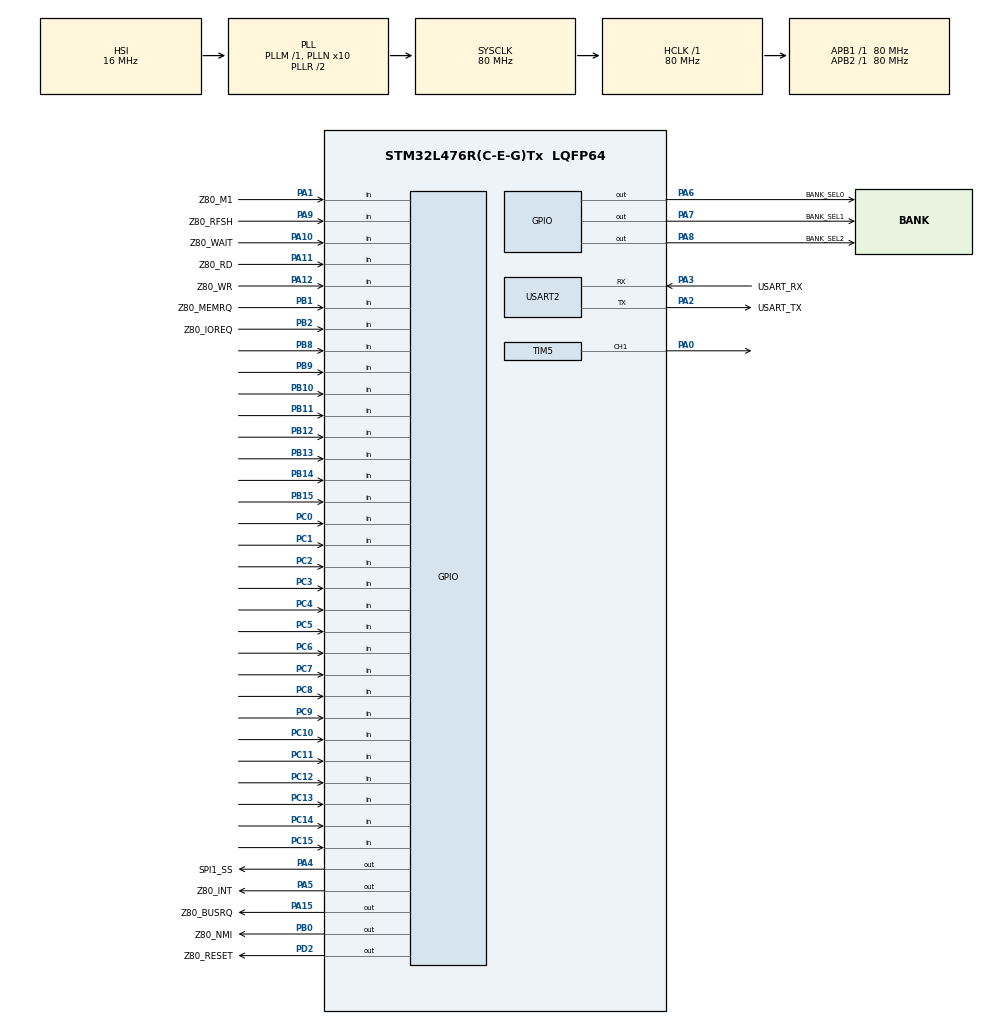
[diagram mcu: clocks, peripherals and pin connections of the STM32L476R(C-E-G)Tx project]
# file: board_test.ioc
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Mcu.Family=STM32L4
Mcu.Name=STM32L476R(C-E-G)Tx
Mcu.Package=LQFP64
NVIC.PriorityGroup=NVIC_PRIORITYGROUP_4
PA0.Signal=S_TIM5_CH1
PA1.GPIO_Label=Z80_M1
PA1.Signal=GPIO_Input
PA10.GPIO_Label=Z80_WAIT
PA10.GPIO_PuPd=GPIO_PULLUP
PA10.Signal=GPIO_Input
PA11.GPIO_Label=Z80_RD
PA11.GPIO_PuPd=GPIO_PULLUP
PA11.Signal=GPIO_Input
PA12.GPIO_Label=Z80_WR
PA12.GPIO_PuPd=GPIO_PULLUP
PA12.Signal=GPIO_Input
PA13\ (JTMS-SWDIO).GPIO_Label=TMS
PA13\ (JTMS-SWDIO).Mode=Serial_Wire
PA13\ (JTMS-SWDIO).Signal=SYS_JTMS-SWDIO
PA14\ (JTCK-SWCLK).GPIO_Label=TCK
PA14\ (JTCK-SWCLK).Mode=Serial_Wire
PA14\ (JTCK-SWCLK).Signal=SYS_JTCK-SWCLK
PA15\ (JTDI).GPIO_Label=Z80_BUSRQ
PA15\ (JTDI).Signal=GPIO_Output
PA2.GPIO_Label=USART_TX
PA2.GPIO_Mode=GPIO_MODE_AF_PP
PA2.GPIO_PuPd=GPIO_NOPULL
PA2.GPIO_Speed=GPIO_SPEED_FREQ_VERY_HIGH
PA2.Mode=Asynchronous
PA2.Signal=USART2_TX
PA3.GPIO_Label=USART_RX
PA3.GPIO_Mode=GPIO_MODE_AF_PP
PA3.GPIO_PuPd=GPIO_NOPULL
PA3.GPIO_Speed=GPIO_SPEED_FREQ_VERY_HIGH
PA3.Mode=Asynchronous
PA3.Signal=USART2_RX
PA4.GPIO_Label=SPI1_SS
PA4.PinState=GPIO_PIN_SET
PA4.Signal=GPIO_Output
PA5.GPIO_Label=Z80_INT
PA5.Signal=GPIO_Output
PA6.GPIO_Label=BANK_SEL0
PA6.Signal=GPIO_Output
PA7.GPIO_Label=BANK_SEL1
PA7.Signal=GPIO_Output
PA8.GPIO_Label=BANK_SEL2
PA8.Signal=GPIO_Output
PA9.GPIO_Label=Z80_RFSH
PA9.Signal=GPIO_Input
PB0.GPIO_Label=Z80_NMI
PB0.Signal=GPIO_Output
PB1.GPIO_Label=Z80_MEMRQ
PB1.GPIO_PuPd=GPIO_PULLUP
PB1.Signal=GPIO_Input
PB10.Signal=GPIO_Input
PB11.Signal=GPIO_Input
PB12.Signal=GPIO_Input
PB13.Signal=GPIO_Input
PB14.Signal=GPIO_Input
PB15.Signal=GPIO_Input
PB2.GPIO_Label=Z80_IOREQ
PB2.GPIO_PuPd=GPIO_PULLUP
PB2.Signal=GPIO_Input
PB8.Signal=GPIO_Input
PB9.Signal=GPIO_Input
PC0.Signal=GPIO_Input
PC1.Signal=GPIO_Input
PC10.Signal=GPIO_Input
PC11.Signal=GPIO_Input
PC12.Signal=GPIO_Input
PC13.Signal=GPIO_Input
PC14-OSC32_IN\ (PC14).Signal=GPIO_Input
PC15-OSC32_OUT\ (PC15).Signal=GPIO_Input
PC2.Signal=GPIO_Input
PC3.Signal=GPIO_Input
PC4.Signal=GPIO_Input
PC5.Signal=GPIO_Input
PC6.Signal=GPIO_Input
PC7.Signal=GPIO_Input
PC8.Signal=GPIO_Input
PC9.Signal=GPIO_Input
PD2.GPIO_Label=Z80_RESET
PD2.Signal=GPIO_Output
PH0-OSC_IN\ (PH0).Signal=RCC_OSC_IN
PH1-OSC_OUT\ (PH1).Signal=RCC_OSC_OUT
ProjectManager.HeapSize=0x200
ProjectManager.StackSize=0x400
ProjectManager.TargetToolchain=STM32CubeIDE
RCC.ADCFreq_Value=64000000
RCC.AHBFreq_Value=80000000
RCC.APB1Freq_Value=80000000
RCC.APB1TimFreq_Value=80000000
RCC.APB2Freq_Value=80000000
RCC.APB2TimFreq_Value=80000000
RCC.CortexFreq_Value=80000000
RCC.HCLKFreq_Value=80000000
RCC.HSE_VALUE=8000000
RCC.HSI_VALUE=16000000
RCC.LSE_VALUE=32768
RCC.MSI_VALUE=4000000
RCC.PLLN=10
RCC.PLLSourceVirtual=RCC_PLLSOURCE_HSI
RCC.PREFETCH_ENABLE=1
RCC.SYSCLKFreq_VALUE=80000000
RCC.SYSCLKSource=RCC_SYSCLKSOURCE_PLLCLK
RCC.USBFreq_Value=64000000
RCC.VCOOutputFreq_Value=160000000
SH.S_TIM5_CH1.0=TIM5_CH1,PWM Generation1 CH1
TIM1.Prescaler=10 - 1
TIM5.AutoReloadPreload=TIM_AUTORELOAD_PRELOAD_ENABLE
TIM5.Channel-PWM\ Generation1\ CH1=TIM_CHANNEL_1
TIM5.Period=1
TIM5.Prescaler=9
TIM5.Pulse-PWM\ Generation1\ CH1=1
USART2.VirtualMode-Asynchronous=VM_ASYNC
VP_TIM1_VS_ClockSourceINT.Mode=Internal
VP_TIM5_VS_ClockSourceINT.Mode=Internal
board=NUCLEO-L476RG

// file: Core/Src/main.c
/* USER CODE BEGIN Header */
/**
  ******************************************************************************
  * @file           : main.c
  * @brief          : Main program body
  ******************************************************************************
  * @attention
  *
  * Copyright (c) 2024 STMicroelectronics.
  * All rights reserved.
  *
  * This software is licensed under terms that can be found in the LICENSE file
  * in the root directory of this software component.
  * If no LICENSE file comes with this software, it is provided AS-IS.
  *
  ******************************************************************************
  */
/* USER CODE END Header */
#include "main.h"

/* USER CODE BEGIN Includes */
#include "board_test.h"

#include <stdio.h>

/* USER CODE END Includes */

TIM_HandleTypeDef htim1;
TIM_HandleTypeDef htim5;

UART_HandleTypeDef huart2;

void SystemClock_Config(void);
static void MX_GPIO_Init(void);
static void MX_USART2_UART_Init(void);
static void MX_TIM5_Init(void);
static void MX_TIM1_Init(void);

int main(void)
{

  /* MCU Configuration--------------------------------------------------------*/

  /* Reset of all peripherals, Initializes the Flash interface and the Systick. */
  HAL_Init();

  /* Configure the system clock */
  SystemClock_Config();

  /* Initialize all configured peripherals */
  MX_GPIO_Init();
  MX_USART2_UART_Init();
  MX_TIM5_Init();
  MX_TIM1_Init();
  /* USER CODE BEGIN 2 */
  HAL_TIM_PWM_Start(&htim5, TIM_CHANNEL_1);
  HAL_TIM_Base_Start(&htim1);

  //disable buffering for input/output stream
  setvbuf(stdin, NULL, _IONBF, 0);
  setvbuf(stdout, NULL, _IONBF, 0);
  board_test();

  /* USER CODE END 2 */

  /* Infinite loop */
  while (1)
  {

    /* USER CODE BEGIN 3 */
    static unsigned short pin_state = 0;
    pin_state = !pin_state;
    HAL_GPIO_WritePin(SPI1_SS_GPIO_Port, SPI1_SS_Pin, pin_state);

    printf("Hello, World !!!\r\n");
    HAL_Delay(1000);
  }
  /* USER CODE END 3 */
}

void SystemClock_Config(void)
{
  RCC_OscInitTypeDef RCC_OscInitStruct = {0};
  RCC_ClkInitTypeDef RCC_ClkInitStruct = {0};

  /** Configure the main internal regulator output voltage
  */
  if (HAL_PWREx_ControlVoltageScaling(PWR_REGULATOR_VOLTAGE_SCALE1) != HAL_OK)
  {
    Error_Handler();
  }

  /** Initializes the RCC Oscillators according to the specified parameters
  * in the RCC_OscInitTypeDef structure.
  */
  RCC_OscInitStruct.OscillatorType = RCC_OSCILLATORTYPE_HSI;
  RCC_OscInitStruct.HSIState = RCC_HSI_ON;
  RCC_OscInitStruct.HSICalibrationValue = RCC_HSICALIBRATION_DEFAULT;
  RCC_OscInitStruct.PLL.PLLState = RCC_PLL_ON;
  RCC_OscInitStruct.PLL.PLLSource = RCC_PLLSOURCE_HSI;
  RCC_OscInitStruct.PLL.PLLM = 1;
  RCC_OscInitStruct.PLL.PLLN = 10;
  RCC_OscInitStruct.PLL.PLLP = RCC_PLLP_DIV7;
  RCC_OscInitStruct.PLL.PLLQ = RCC_PLLQ_DIV2;
  RCC_OscInitStruct.PLL.PLLR = RCC_PLLR_DIV2;
  if (HAL_RCC_OscConfig(&RCC_OscInitStruct) != HAL_OK)
  {
    Error_Handler();
  }

  /** Initializes the CPU, AHB and APB buses clocks
  */
  RCC_ClkInitStruct.ClockType = RCC_CLOCKTYPE_HCLK|RCC_CLOCKTYPE_SYSCLK
                              |RCC_CLOCKTYPE_PCLK1|RCC_CLOCKTYPE_PCLK2;
  RCC_ClkInitStruct.SYSCLKSource = RCC_SYSCLKSOURCE_PLLCLK;
  RCC_ClkInitStruct.AHBCLKDivider = RCC_SYSCLK_DIV1;
  RCC_ClkInitStruct.APB1CLKDivider = RCC_HCLK_DIV1;
  RCC_ClkInitStruct.APB2CLKDivider = RCC_HCLK_DIV1;

  if (HAL_RCC_ClockConfig(&RCC_ClkInitStruct, FLASH_LATENCY_4) != HAL_OK)
  {
    Error_Handler();
  }
}

static void MX_TIM1_Init(void)
{

  TIM_ClockConfigTypeDef sClockSourceConfig = {0};
  TIM_MasterConfigTypeDef sMasterConfig = {0};

  htim1.Instance = TIM1;
  htim1.Init.Prescaler = 10 - 1;
  htim1.Init.CounterMode = TIM_COUNTERMODE_UP;
  htim1.Init.Period = 65535;
  htim1.Init.ClockDivision = TIM_CLOCKDIVISION_DIV1;
  htim1.Init.RepetitionCounter = 0;
  htim1.Init.AutoReloadPreload = TIM_AUTORELOAD_PRELOAD_DISABLE;
  if (HAL_TIM_Base_Init(&htim1) != HAL_OK)
  {
    Error_Handler();
  }
  sClockSourceConfig.ClockSource = TIM_CLOCKSOURCE_INTERNAL;
  if (HAL_TIM_ConfigClockSource(&htim1, &sClockSourceConfig) != HAL_OK)
  {
    Error_Handler();
  }
  sMasterConfig.MasterOutputTrigger = TIM_TRGO_RESET;
  sMasterConfig.MasterOutputTrigger2 = TIM_TRGO2_RESET;
  sMasterConfig.MasterSlaveMode = TIM_MASTERSLAVEMODE_DISABLE;
  if (HAL_TIMEx_MasterConfigSynchronization(&htim1, &sMasterConfig) != HAL_OK)
  {
    Error_Handler();
  }

}

static void MX_TIM5_Init(void)
{

  TIM_ClockConfigTypeDef sClockSourceConfig = {0};
  TIM_MasterConfigTypeDef sMasterConfig = {0};
  TIM_OC_InitTypeDef sConfigOC = {0};

  htim5.Instance = TIM5;
  htim5.Init.Prescaler = 9;
  htim5.Init.CounterMode = TIM_COUNTERMODE_UP;
  htim5.Init.Period = 1;
  htim5.Init.ClockDivision = TIM_CLOCKDIVISION_DIV1;
  htim5.Init.AutoReloadPreload = TIM_AUTORELOAD_PRELOAD_ENABLE;
  if (HAL_TIM_Base_Init(&htim5) != HAL_OK)
  {
    Error_Handler();
  }
  sClockSourceConfig.ClockSource = TIM_CLOCKSOURCE_INTERNAL;
  if (HAL_TIM_ConfigClockSource(&htim5, &sClockSourceConfig) != HAL_OK)
  {
    Error_Handler();
  }
  if (HAL_TIM_PWM_Init(&htim5) != HAL_OK)
  {
    Error_Handler();
  }
  sMasterConfig.MasterOutputTrigger = TIM_TRGO_RESET;
  sMasterConfig.MasterSlaveMode = TIM_MASTERSLAVEMODE_DISABLE;
  if (HAL_TIMEx_MasterConfigSynchronization(&htim5, &sMasterConfig) != HAL_OK)
  {
    Error_Handler();
  }
  sConfigOC.OCMode = TIM_OCMODE_PWM1;
  sConfigOC.Pulse = 1;
  sConfigOC.OCPolarity = TIM_OCPOLARITY_HIGH;
  sConfigOC.OCFastMode = TIM_OCFAST_DISABLE;
  if (HAL_TIM_PWM_ConfigChannel(&htim5, &sConfigOC, TIM_CHANNEL_1) != HAL_OK)
  {
    Error_Handler();
  }
  HAL_TIM_MspPostInit(&htim5);

}

static void MX_USART2_UART_Init(void)
{

  huart2.Instance = USART2;
  huart2.Init.BaudRate = 115200;
  huart2.Init.WordLength = UART_WORDLENGTH_8B;
  huart2.Init.StopBits = UART_STOPBITS_1;
  huart2.Init.Parity = UART_PARITY_NONE;
  huart2.Init.Mode = UART_MODE_TX_RX;
  huart2.Init.HwFlowCtl = UART_HWCONTROL_NONE;
  huart2.Init.OverSampling = UART_OVERSAMPLING_16;
  huart2.Init.OneBitSampling = UART_ONE_BIT_SAMPLE_DISABLE;
  huart2.AdvancedInit.AdvFeatureInit = UART_ADVFEATURE_NO_INIT;
  if (HAL_UART_Init(&huart2) != HAL_OK)
  {
    Error_Handler();
  }

}

static void MX_GPIO_Init(void)
{
  GPIO_InitTypeDef GPIO_InitStruct = {0};

  /* GPIO Ports Clock Enable */
  __HAL_RCC_GPIOC_CLK_ENABLE();
  __HAL_RCC_GPIOH_CLK_ENABLE();
  __HAL_RCC_GPIOA_CLK_ENABLE();
  __HAL_RCC_GPIOB_CLK_ENABLE();
  __HAL_RCC_GPIOD_CLK_ENABLE();

  /*Configure GPIO pin Output Level */
  HAL_GPIO_WritePin(SPI1_SS_GPIO_Port, SPI1_SS_Pin, GPIO_PIN_SET);

  /*Configure GPIO pin Output Level */
  HAL_GPIO_WritePin(GPIOA, Z80_INT_Pin|BANK_SEL0_Pin|BANK_SEL1_Pin|BANK_SEL2_Pin
                          |Z80_BUSRQ_Pin, GPIO_PIN_RESET);

  /*Configure GPIO pin Output Level */
  HAL_GPIO_WritePin(Z80_NMI_GPIO_Port, Z80_NMI_Pin, GPIO_PIN_RESET);

  /*Configure GPIO pin Output Level */
  HAL_GPIO_WritePin(Z80_RESET_GPIO_Port, Z80_RESET_Pin, GPIO_PIN_RESET);

  /*Configure GPIO pins : PC13 PC14 PC15 PC0
                           PC1 PC2 PC3 PC4
                           PC5 PC6 PC7 PC8
                           PC9 PC10 PC11 PC12 */
  GPIO_InitStruct.Pin = GPIO_PIN_13|GPIO_PIN_14|GPIO_PIN_15|GPIO_PIN_0
                          |GPIO_PIN_1|GPIO_PIN_2|GPIO_PIN_3|GPIO_PIN_4
                          |GPIO_PIN_5|GPIO_PIN_6|GPIO_PIN_7|GPIO_PIN_8
                          |GPIO_PIN_9|GPIO_PIN_10|GPIO_PIN_11|GPIO_PIN_12;
  GPIO_InitStruct.Mode = GPIO_MODE_INPUT;
  GPIO_InitStruct.Pull = GPIO_NOPULL;
  HAL_GPIO_Init(GPIOC, &GPIO_InitStruct);

  /*Configure GPIO pins : Z80_M1_Pin Z80_RFSH_Pin */
  GPIO_InitStruct.Pin = Z80_M1_Pin|Z80_RFSH_Pin;
  GPIO_InitStruct.Mode = GPIO_MODE_INPUT;
  GPIO_InitStruct.Pull = GPIO_NOPULL;
  HAL_GPIO_Init(GPIOA, &GPIO_InitStruct);

  /*Configure GPIO pins : SPI1_SS_Pin Z80_INT_Pin BANK_SEL0_Pin BANK_SEL1_Pin
                           BANK_SEL2_Pin Z80_BUSRQ_Pin */
  GPIO_InitStruct.Pin = SPI1_SS_Pin|Z80_INT_Pin|BANK_SEL0_Pin|BANK_SEL1_Pin
                          |BANK_SEL2_Pin|Z80_BUSRQ_Pin;
  GPIO_InitStruct.Mode = GPIO_MODE_OUTPUT_PP;
  GPIO_InitStruct.Pull = GPIO_NOPULL;
  GPIO_InitStruct.Speed = GPIO_SPEED_FREQ_LOW;
  HAL_GPIO_Init(GPIOA, &GPIO_InitStruct);

  /*Configure GPIO pin : Z80_NMI_Pin */
  GPIO_InitStruct.Pin = Z80_NMI_Pin;
  GPIO_InitStruct.Mode = GPIO_MODE_OUTPUT_PP;
  GPIO_InitStruct.Pull = GPIO_NOPULL;
  GPIO_InitStruct.Speed = GPIO_SPEED_FREQ_LOW;
  HAL_GPIO_Init(Z80_NMI_GPIO_Port, &GPIO_InitStruct);

  /*Configure GPIO pins : Z80_MEMRQ_Pin Z80_IOREQ_Pin */
  GPIO_InitStruct.Pin = Z80_MEMRQ_Pin|Z80_IOREQ_Pin;
  GPIO_InitStruct.Mode = GPIO_MODE_INPUT;
  GPIO_InitStruct.Pull = GPIO_PULLUP;
  HAL_GPIO_Init(GPIOB, &GPIO_InitStruct);

  /*Configure GPIO pins : PB10 PB11 PB12 PB13
                           PB14 PB15 PB8 PB9 */
  GPIO_InitStruct.Pin = GPIO_PIN_10|GPIO_PIN_11|GPIO_PIN_12|GPIO_PIN_13
                          |GPIO_PIN_14|GPIO_PIN_15|GPIO_PIN_8|GPIO_PIN_9;
  GPIO_InitStruct.Mode = GPIO_MODE_INPUT;
  GPIO_InitStruct.Pull = GPIO_NOPULL;
  HAL_GPIO_Init(GPIOB, &GPIO_InitStruct);

  /*Configure GPIO pins : Z80_WAIT_Pin Z80_RD_Pin Z80_WR_Pin */
  GPIO_InitStruct.Pin = Z80_WAIT_Pin|Z80_RD_Pin|Z80_WR_Pin;
  GPIO_InitStruct.Mode = GPIO_MODE_INPUT;
  GPIO_InitStruct.Pull = GPIO_PULLUP;
  HAL_GPIO_Init(GPIOA, &GPIO_InitStruct);

  /*Configure GPIO pin : Z80_RESET_Pin */
  GPIO_InitStruct.Pin = Z80_RESET_Pin;
  GPIO_InitStruct.Mode = GPIO_MODE_OUTPUT_PP;
  GPIO_InitStruct.Pull = GPIO_NOPULL;
  GPIO_InitStruct.Speed = GPIO_SPEED_FREQ_LOW;
  HAL_GPIO_Init(Z80_RESET_GPIO_Port, &GPIO_InitStruct);

}

/* USER CODE BEGIN 4 */

/**
  * @brief  Retargets the C library printf function to the USART.
  * @param  None
  * @retval None
  */
#ifdef __GNUC__
/* With GCC/RAISONANCE, small printf (option LD Linker->Libraries->Small printf
   set to 'Yes') calls __io_putchar() */
int __io_putchar(int ch)
#else
int fputc(int ch, FILE *f)
#endif /* __GNUC__ */
{
  /* Place your implementation of fputc here */
  /* e.g. write a character to the USART1 and Loop until the end of transmission */
  HAL_UART_Transmit(&huart2, (uint8_t *)&ch, 1, 0xFFFF);

  return ch;
}

#ifdef __GNUC__
int __io_getchar(void)
#else
int fgetc(FILE *f)
#endif
{
  uint8_t ch = 0;
  HAL_StatusTypeDef stat;
  do {
    __HAL_UART_CLEAR_OREFLAG(&huart2);
    stat = HAL_UART_Receive(&huart2, (uint8_t *)&ch, 1, /* Timeout */ 0);
  } while (ch == 0 || stat != HAL_OK);
  return ch;
}

int input_key_available(void)
{
    return __HAL_UART_GET_FLAG(&huart2, UART_FLAG_RXNE);
}

void delay_us (uint16_t us)
{
	__HAL_TIM_SET_COUNTER(&htim1,0);  // set the counter value a 0
	while (__HAL_TIM_GET_COUNTER(&htim1) < us * 8 + 1);  // wait for the counter to reach the us input in the parameter
}

/* USER CODE END 4 */

void Error_Handler(void)
{
  __disable_irq();
  while (1)
  {
  }
}
